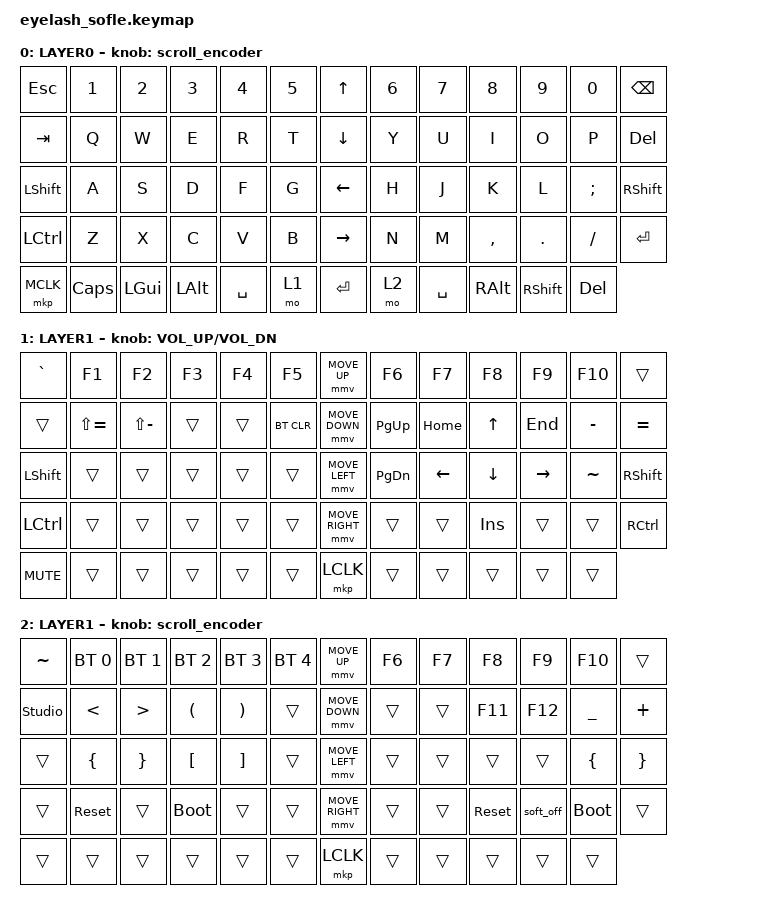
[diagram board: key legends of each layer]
#include <dt-bindings/zmk/mouse.h>
#include <input/processors.dtsi>
#include <behaviors.dtsi>
#include <dt-bindings/zmk/bt.h>
#include <dt-bindings/zmk/keys.h>
#include <dt-bindings/zmk/pointing.h>

/*

   &mmv_input_listener {
       input-processors = <&zip_xy_scaler 2 1>;
   };

   &msc_input_listener {
       input-processors = <&zip_xy_scaler 2 1>;
   };

 */

#define ZMK_MOUSE_DEFAULT_MOVE_VAL 1200  // 600
#define ZMK_MOUSE_DEFAULT_SCRL_VAL 20    // 10

/ {
    behaviors {
        mmv {
            acceleration-exponent = <1>;      // 1
            time-to-max-speed-ms = <900>;    // 40
            delay-ms = <0>;                   // 0
        };

        msc {
            acceleration-exponent = <1>;      // 0
            time-to-max-speed-ms = <400>;      // 500
            delay-ms = <0>;                   //   10
        };

        /* 🔓 Comportamiento para ZMK Studio */

        studio_unlock: behavior_studio-unlock {
            compatible = "zmk,behavior-studio-unlock";
            label = "STUDIO_UNLOCK";
        };
    };

    scroll_encoder: scroll_encoder {
        compatible = "zmk,behavior-sensor-rotate";
        #sensor-binding-cells = <0>;
        bindings = <&msc SCRL_DOWN>, <&msc SCRL_UP>;

        tap-ms = <30>;
    };

    keymap {
        compatible = "zmk,keymap";

        layer0 {
            bindings = <
&kp ESC    &kp N1    &kp N2        &kp N3        &kp N4     &kp N5    &kp UP_ARROW     &kp N6  &kp N7     &kp N8         &kp N9           &kp N0      &kp BACKSPACE
&kp TAB    &kp Q     &kp W         &kp E         &kp R      &kp T     &kp DOWN_ARROW   &kp Y   &kp U      &kp I          &kp O            &kp P       &kp DELETE
&kp LSHFT  &kp A     &kp S         &kp D         &kp F      &kp G     &kp LEFT_ARROW   &kp H   &kp J      &kp K          &kp L            &kp SEMI    &kp RIGHT_SHIFT
&kp LCTRL  &kp Z     &kp X         &kp C         &kp V      &kp B     &kp RIGHT_ARROW  &kp N   &kp M      &kp COMMA      &kp DOT          &kp FSLH    &kp ENTER
&mkp MCLK  &kp CAPS  &kp LEFT_GUI  &kp LEFT_ALT  &kp SPACE  &mo 1     &kp ENTER        &mo 2   &kp SPACE  &kp RIGHT_ALT  &kp RIGHT_SHIFT  &kp DELETE
            >;

            sensor-bindings = <&scroll_encoder>;
            display-name = "LAYER0";
        };

        layer_1 {
            bindings = <
&kp GRAVE       &kp F1         &kp F2         &kp F3  &kp F4  &kp F5        &mmv MOVE_UP     &kp F6     &kp F7    &kp F8      &kp F9     &kp F10    &trans
&trans          &kp LS(EQUAL)  &kp LS(MINUS)  &trans  &trans  &bt BT_CLR    &mmv MOVE_DOWN   &kp PG_UP  &kp HOME  &kp UP      &kp END    &kp MINUS  &kp EQUAL
&kp LEFT_SHIFT  &trans         &trans         &trans  &trans  &trans        &mmv MOVE_LEFT   &kp PG_DN  &kp LEFT  &kp DOWN    &kp RIGHT  &kp TILDE  &kp RIGHT_SHIFT
&kp LCTRL       &trans         &trans         &trans  &trans  &trans        &mmv MOVE_RIGHT  &trans     &trans    &kp INSERT  &trans     &trans     &kp RCTRL
&kp C_MUTE      &trans         &trans         &trans  &trans  &trans        &mkp LCLK        &trans     &trans    &trans      &trans     &trans
            >;

            sensor-bindings = <&inc_dec_kp C_VOLUME_UP C_VOL_DN>;
            display-name = "LAYER1";
        };

        layer_2 {
            bindings = <
&kp TILDE       &bt BT_SEL 0    &bt BT_SEL 1      &bt BT_SEL 2          &bt BT_SEL 3           &bt BT_SEL 4    &mmv MOVE_UP     &kp F6  &kp F7  &kp F8      &kp F9     &kp F10      &trans
&studio_unlock  &kp LESS_THAN   &kp GREATER_THAN  &kp LEFT_PARENTHESIS  &kp RIGHT_PARENTHESIS  &trans          &mmv MOVE_DOWN   &trans  &trans  &kp F11     &kp F12    &kp UNDER    &kp PLUS
&trans          &kp LEFT_BRACE  &kp RIGHT_BRACE   &kp LEFT_BRACKET      &kp RIGHT_BRACKET      &trans          &mmv MOVE_LEFT   &trans  &trans  &trans      &trans     &kp LBRC     &kp RBRC
&trans          &sys_reset      &trans            &bootloader           &trans                 &trans          &mmv MOVE_RIGHT  &trans  &trans  &sys_reset  &soft_off  &bootloader  &trans
&trans          &trans          &trans            &trans                &trans                 &trans          &mkp LCLK        &trans  &trans  &trans      &trans     &trans
            >;

            sensor-bindings = <&scroll_encoder>;
            display-name = "LAYER1";
        };
    };
};
